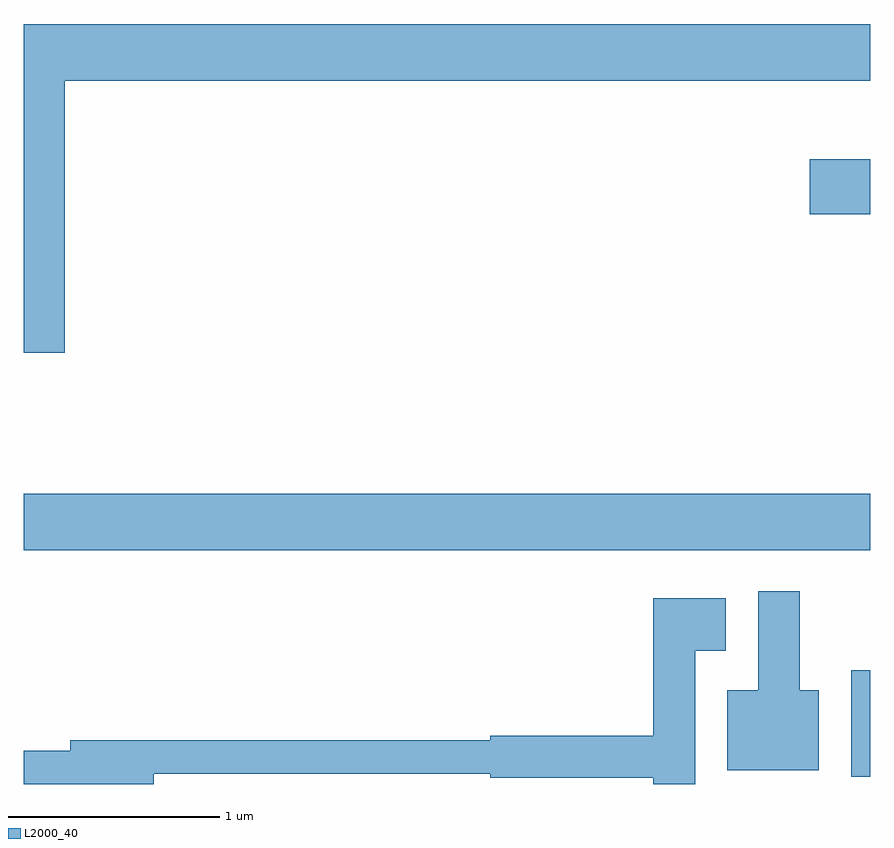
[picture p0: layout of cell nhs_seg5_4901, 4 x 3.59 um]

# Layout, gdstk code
import gdstk
lib = gdstk.Library(unit=1e-6, precision=1e-09)
def R(c, l, rs):  # rectangles x0, y0, x1, y1
    for r in rs: c.add(gdstk.rectangle(r[:2], r[2:], *l))
def P(c, l, *ps):  # polygons
    for p in ps: c.add(gdstk.Polygon(p, *l))
L2000_40 = (2000, 40)

nhs_seg5_4901 = lib.new_cell('nhs_seg5_4901')
R(nhs_seg5_4901, L2000_40, [(333.521,1520.106,333.611,1520.609), (329.611,1521.176,333.611,1521.444), (333.326,1522.766,333.611,1523.024)])
P(nhs_seg5_4901, L2000_40, [(329.804,1523.396),(333.611,1523.396),(333.611,1523.664),(329.611,1523.664),(329.611,1522.111),(329.804,1522.111)],
  [(333.369,1520.514),(333.279,1520.514),(333.279,1520.984),(333.081,1520.984),(333.081,1520.514),(332.936,1520.514),(332.936,1520.136),(333.369,1520.136)],
  [(330.224,1520.121),(331.816,1520.121),(331.816,1520.101),(332.586,1520.101),(332.586,1520.072),(332.784,1520.072),(332.784,1520.701),(332.929,1520.701),(332.929,1520.949),(332.586,1520.949),(332.586,1520.299),(331.816,1520.299),(331.816,1520.279),(329.831,1520.279),(329.831,1520.229),(329.611,1520.229),(329.611,1520.072),(330.224,1520.072)])

lib.write_gds('nhs_seg5_4901.gds')
